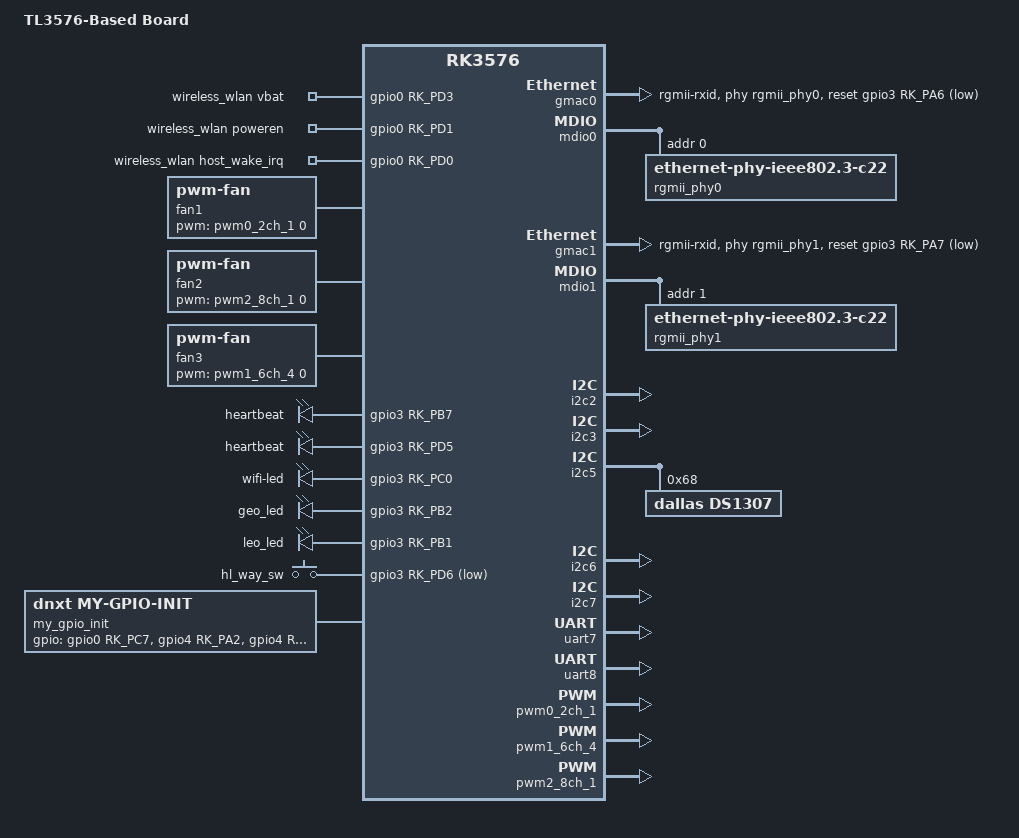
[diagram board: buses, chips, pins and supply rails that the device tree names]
// SPDX-License-Identifier: (GPL-2.0+ OR MIT)
/*
 * Copyright (c) 2024 Rockchip Electronics Co., Ltd.
 *
 */

/dts-v1/;

#include "rk3576.dtsi"
#include "rk3576-my-base.dtsi"

/ {
	model = "TL3576-Based Board";
	compatible = "tronlong,tl3576-evm", "rockchip,rk3576";

	aliases {
		ethernet0 = &gmac1;
		ethernet1 = &gmac0;
	};

	wireless_bluetooth: wireless-bluetooth {
		compatible = "bluetooth-platdata";
		//BT,reset_gpio = <&xl8574t 7 GPIO_ACTIVE_HIGH>;
		status = "disabled";
	};

	wireless_wlan: wireless-wlan {
		compatible = "wlan-platdata";
		pinctrl-names = "default";
		pinctrl-0 = <&wifi_gpios>;
		WIFI,vbat_gpio = <&gpio0 RK_PD3 GPIO_ACTIVE_HIGH>;
		WIFI,poweren_gpio = <&gpio0 RK_PD1 GPIO_ACTIVE_HIGH>;
		WIFI,host_wake_irq = <&gpio0 RK_PD0 GPIO_ACTIVE_HIGH>;
		status = "okay";
	};

	fan1: pwm-fan1 {
		compatible = "pwm-fan";
		#cooling-cells = <2>;
		pwms = <&pwm0_2ch_1 0 50000 0>;
		cooling-levels = <0 50 100 150 200 255>;
		rockchip,temp-trips = <25000 5>;
	};

	fan2: pwm-fan2 {
		compatible = "pwm-fan";
		#cooling-cells = <2>;
		pwms = <&pwm2_8ch_1 0 50000 0>;
		cooling-levels = <0 50 100 150 200 255>;
		rockchip,temp-trips = <25000 5>;
	};

	fan3: pwm-fan3 {
		compatible = "pwm-fan";
		#cooling-cells = <2>;
		pwms = <&pwm1_6ch_4 0 50000 0>;
		cooling-levels = <0 50 100 150 200 255>;
		rockchip,temp-trips = <25000 5>;
	};

	leds {
		status = "okay";
		compatible = "gpio-leds";
		pinctrl-names = "default";
		pinctrl-0 = <&sys_work_led &work_led &wifi_led &geo_led &leo_led>;

		sys_work_led {
			label = "heartbeat";
			gpios = <&gpio3 RK_PB7 GPIO_ACTIVE_HIGH>;
			linux,default-trigger = "heartbeat";
			default-state = "off";
		};

		work_led {
			label = "heartbeat";
			gpios = <&gpio3 RK_PD5 GPIO_ACTIVE_HIGH>;
			linux,default-trigger = "heartbeat";
			default-state = "off";
		};

		wifi_led {
			label = "wifi-led";
			gpios = <&gpio3 RK_PC0 GPIO_ACTIVE_HIGH>;
			linux,default-trigger = "default-on";
			default-state = "off";
		};

		geo_led {
			label = "geo_led";
			gpios = <&gpio3 RK_PB2 GPIO_ACTIVE_HIGH>;
			linux,default-trigger = "default-on";
			default-state = "off";
		};

		leo_led {
			label = "leo_led";
			gpios = <&gpio3 RK_PB1 GPIO_ACTIVE_HIGH>;
			linux,default-trigger = "default-on";
			default-state = "off";
		};
	};

	gpio-keys {
		compatible = "gpio-keys";
		autorepeat;
		pinctrl-names = "default";
		pinctrl-0 = <&switch_btn>;

		hl_way_sw {
			label = "hl_way_sw";
			linux,code = <KEY_PROG2>;
			gpios = <&gpio3 RK_PD6 GPIO_ACTIVE_LOW>;
			debounce-interval = <50>;
		};
	};

	my_gpio_init: my-gpio-init {
		compatible = "dnxt,my-gpio-init";
		status = "okay";

		init-delay-ms = <0>;

		gpios = <
			&gpio0 RK_PC7 GPIO_ACTIVE_HIGH    // 0 USB1_NRST
			&gpio4 RK_PA2 GPIO_ACTIVE_HIGH    // 1 EN_FS
			&gpio4 RK_PA5 GPIO_ACTIVE_HIGH    // 2 EN_SM
			&gpio0 RK_PC3 GPIO_ACTIVE_HIGH    // 3 EN_HBB
		>;

		gpio-names = "usb1_nrst", "fans_en", "sm_en", "hbb_en";

		//                  0 1 2 3 4 5 6 7 8 9 10
		gpio-init-states = <0 1 1 1>;

		// format: <gpio_index delay_ms>
		gpio-delays = <0 0>;

		// format: <gpio_index delay_ms target_state>
		gpio-state-delays = <0 10 1>;
	};
};

&gmac0 {
	phy-mode = "rgmii-rxid";
	clock_in_out = "output";

	snps,reset-gpio = <&gpio3 RK_PA6 GPIO_ACTIVE_LOW>;
	snps,reset-active-low;
	snps,reset-delays-us = <0 20000 100000>;

	pinctrl-names = "default";
	pinctrl-0 = <&eth0m1_miim
				&eth0m1_tx_bus2
				&eth0m1_rx_bus2
				&eth0m1_rgmii_clk
				&eth0m1_rgmii_bus>;

	tx_delay = <0x21>;
	/* rx_delay = <0x3f>; */

	phy-handle = <&rgmii_phy0>;
	status = "okay";
};

&mdio0 {
	rgmii_phy0: phy@1 {
		compatible = "ethernet-phy-ieee802.3-c22";
		reg = <0x0>;
		clocks = <&cru REFCLKO25M_GMAC0_OUT>;
		motorcomm,keep-pll-enabled;
		motorcomm,auto-sleep-disabled;
	};
};

&gmac1 {
	/* Use rgmii-rxid mode to disable rx delay inside Soc */
	phy-mode = "rgmii-rxid";
	clock_in_out = "output";

	snps,reset-gpio = <&gpio3 RK_PA7 GPIO_ACTIVE_LOW>;
	snps,reset-active-low;
	snps,reset-delays-us = <0 20000 100000>;

	pinctrl-names = "default";
	pinctrl-0 = <&eth1m0_miim
				&eth1m0_tx_bus2
				&eth1m0_rx_bus2
				&eth1m0_rgmii_clk
				&eth1m0_rgmii_bus>;

	tx_delay = <0x20>;
	/* rx_delay = <0x3f>; */

	phy-handle = <&rgmii_phy1>;
	status = "okay";
};

&mdio1 {
	rgmii_phy1: phy@1 {
		compatible = "ethernet-phy-ieee802.3-c22";
		reg = <0x1>;
		clocks = <&cru REFCLKO25M_GMAC1_OUT>;
		motorcomm,keep-pll-enabled;
		motorcomm,auto-sleep-disabled;
	};
};

&i2c2 {
	status = "okay";
};

&i2c3 {
	status = "okay";
};

&i2c5 {
	status = "okay";

	ds1307@68 {
		compatible = "dallas,ds1307";
		reg = <0x68>;
		status = "okay";
	};
};

&i2c6 {
	pinctrl-0 = <&i2c6m3_xfer>;
	status = "okay";
};

&i2c7 {
	pinctrl-0 = <&i2c7m3_xfer>;
	status = "okay";
};

&uart7 {
	pinctrl-0 = <&uart7m2_xfer>;
	status = "okay";
};

&uart8 {
	pinctrl-0 = <&uart8m2_xfer>;
	status = "okay";
};

/* FAN1-PWM */
&pwm0_2ch_1 {
	status = "okay";
	pinctrl-0 = <&pwm0m3_ch1>;
};

/* FAN3-PWM */
&pwm1_6ch_4 {
	status = "okay";
	pinctrl-0 = <&pwm1m3_ch4>;
};

/* FAN2-PWM */
&pwm2_8ch_1 {
	status = "okay";
	pinctrl-0 = <&pwm2m3_ch1>;
};

&pinctrl {
	leds {
		sys_work_led: sys-work-led {
			rockchip,pins = <3 RK_PB7 RK_FUNC_GPIO &pcfg_pull_none>;
		};
		work_led: work-led {
			rockchip,pins = <3 RK_PD5 RK_FUNC_GPIO &pcfg_pull_none>;
		};
		wifi_led: wifi-led {
			rockchip,pins = <3 RK_PC0 RK_FUNC_GPIO &pcfg_pull_none>;
		};
		geo_led: geo-led {
			rockchip,pins = <3 RK_PB2 RK_FUNC_GPIO &pcfg_pull_none>;
		};
		leo_led: leo-led {
			rockchip,pins = <3 RK_PB1 RK_FUNC_GPIO &pcfg_pull_none>;
		};
	};

	keys {
		switch_btn: switch-btn {
			rockchip,pins = <3 RK_PD6 RK_FUNC_GPIO &pcfg_pull_up>;
		};
	};

	wireless-wlan {
		wifi_gpios: wifi-gpios {
			rockchip,pins = <0 RK_PD3 RK_FUNC_GPIO &pcfg_pull_none>,
							<0 RK_PD1 RK_FUNC_GPIO &pcfg_pull_none>,
							<0 RK_PD0 RK_FUNC_GPIO &pcfg_pull_up>;
		};
	};
};
